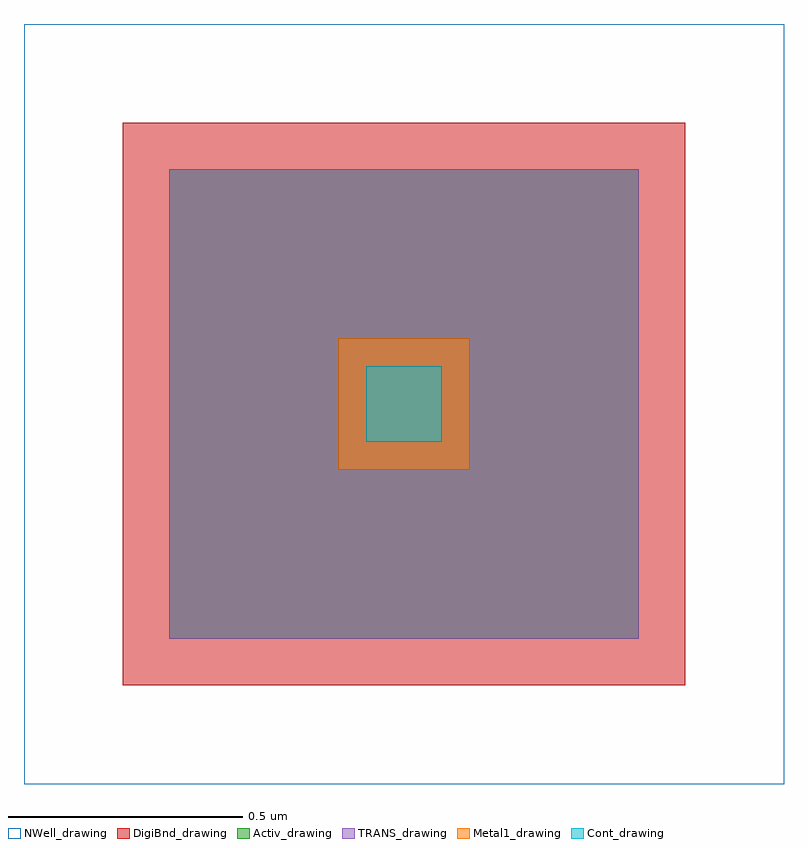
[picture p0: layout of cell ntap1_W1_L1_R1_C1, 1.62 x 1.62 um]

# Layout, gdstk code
import gdstk
lib = gdstk.Library(unit=1e-6, precision=1e-09)
def R(c, l, rs):  # rectangles x0, y0, x1, y1
    for r in rs: c.add(gdstk.rectangle(r[:2], r[2:], *l))
Activ_drawing = (1, 0)
Cont_drawing = (6, 0)
Metal1_drawing = (8, 0)
DigiBnd_drawing = (16, 0)
TRANS_drawing = (26, 0)
NWell_drawing = (31, 0)

rectangle_gdsfactorypcom = lib.new_cell('rectangle_gdsfactorypcomponentspshapesprectangle_S1p62__535f5dc4')
R(rectangle_gdsfactorypcom, NWell_drawing, [(-0.81,-0.81,0.81,0.81)])

c_rectangle_gdsfactorypcom = lib.new_cell('rectangle_gdsfactorypcomponentspshapesprectangle_S1_1_L_cf6e9875')
R(c_rectangle_gdsfactorypcom, Activ_drawing, [(-0.5,-0.5,0.5,0.5)])

c_rectangle_gdsfactorypcom_ = lib.new_cell('rectangle_gdsfactorypcomponentspshapesprectangle_S1p2_1_8b184db6')
R(c_rectangle_gdsfactorypcom_, DigiBnd_drawing, [(-0.6,-0.6,0.6,0.6)])

c_rectangle_gdsfactorypcom__ = lib.new_cell('rectangle_gdsfactorypcomponentspshapesprectangle_S1_1_L_38881fc2')
R(c_rectangle_gdsfactorypcom__, TRANS_drawing, [(-0.5,-0.5,0.5,0.5)])

c_rectangle_gdsfactorypcom___ = lib.new_cell('rectangle_gdsfactorypcomponentspshapesprectangle_S0p16__c51b0b68')
R(c_rectangle_gdsfactorypcom___, Cont_drawing, [(-0.08,-0.08,0.08,0.08)])

c_rectangle_gdsfactorypcom____ = lib.new_cell('rectangle_gdsfactorypcomponentspshapesprectangle_S0p28__84169dad')
R(c_rectangle_gdsfactorypcom____, Metal1_drawing, [(-0.14,-0.14,0.14,0.14)])

ntap1_w1_l1_r1_c1 = lib.new_cell('ntap1_W1_L1_R1_C1')
ntap1_w1_l1_r1_c1.add(gdstk.Reference(rectangle_gdsfactorypcom, (0,0)))
ntap1_w1_l1_r1_c1.add(gdstk.Reference(c_rectangle_gdsfactorypcom, (0,0)))
ntap1_w1_l1_r1_c1.add(gdstk.Reference(c_rectangle_gdsfactorypcom_, (0,0)))
ntap1_w1_l1_r1_c1.add(gdstk.Reference(c_rectangle_gdsfactorypcom__, (0,0)))
ntap1_w1_l1_r1_c1.add(gdstk.Reference(c_rectangle_gdsfactorypcom___, (0,0)))
ntap1_w1_l1_r1_c1.add(gdstk.Reference(c_rectangle_gdsfactorypcom____, (0,0)))

lib.write_gds('ntap1_W1_L1_R1_C1.gds')
